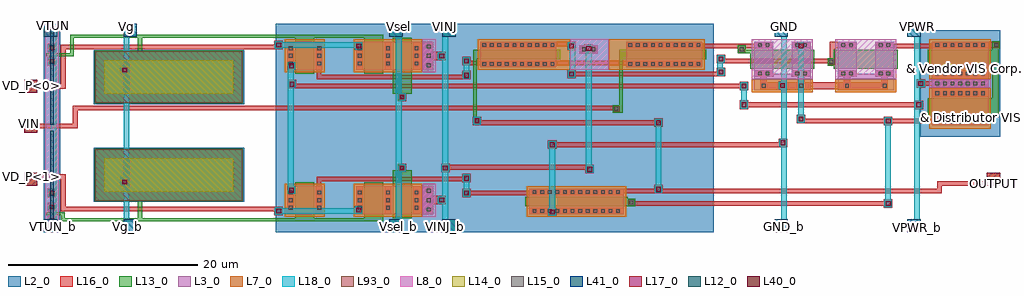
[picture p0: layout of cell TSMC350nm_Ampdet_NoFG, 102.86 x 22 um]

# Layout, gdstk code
from math import pi, radians
import gdstk
lib = gdstk.Library(unit=1e-6, precision=1e-09)
def R(c, l, rs):  # rectangles x0, y0, x1, y1
    for r in rs: c.add(gdstk.rectangle(r[:2], r[2:], *l))
def A(c, l, x, y, w, h, nx, ny, dx, dy):  # array of equal rectangles
    R(c, l, [(x+i*dx, y+j*dy, x+i*dx+w, y+j*dy+h) for i in range(nx) for j in range(ny)])
L2_0 = (2, 0)
L3_0 = (3, 0)
L7_0 = (7, 0)
L8_0 = (8, 0)
L12_0 = (12, 0)
L13_0 = (13, 0)
L14_0 = (14, 0)
L15_0 = (15, 0)
L16_0 = (16, 0)
L17_0 = (17, 0)
L18_0 = (18, 0)
L40_0 = (40, 0)
L41_0 = (41, 0)
L93_0 = (93, 0)

pch_cdns_748281327660 = lib.new_cell('pch_CDNS_748281327660')
R(pch_cdns_748281327660, L2_0, [(-2.05,-1.2,3.05,11.2)])
R(pch_cdns_748281327660, L3_0, [(-0.85,0,-0.15,10), (-0.85,0,-0.15,10), (-0.15,0,1.15,10), (1.15,0,1.85,10), (1.15,0,1.85,10)])
R(pch_cdns_748281327660, L7_0, [(-1.1,-0.25,2.1,10.25)])
R(pch_cdns_748281327660, L13_0, [(0,-0.4,1,10.4)])
A(pch_cdns_748281327660, L15_0, -0.7, 0.4, 0.4, 0.4, 1, 12, 0, 0.8)
A(pch_cdns_748281327660, L15_0, 1.3, 0.4, 0.4, 0.4, 1, 12, 0, 0.8)
R(pch_cdns_748281327660, L16_0, [(-0.85,0,-0.15,10), (1.15,0,1.85,10)])
pch_cdns_748281327660.add(gdstk.Label('D', (1.5,5), layer=59, texttype=0))
pch_cdns_748281327660.add(gdstk.Label('S', (-0.5,5), layer=59, texttype=0))
pch_cdns_748281327660.add(gdstk.Label('G', (0.5,5), layer=59, texttype=0))
pch_cdns_748281327660.add(gdstk.Label('& SerialNumber 000000', (0,0), layer=16, texttype=0))
pch_cdns_748281327660.add(gdstk.Label('& Distributor VIS', (0,0), layer=16, texttype=0))
pch_cdns_748281327660.add(gdstk.Label('& Metric 1', (0,0), layer=16, texttype=0))
pch_cdns_748281327660.add(gdstk.Label('& Version    \t  1.7A', (0,0), layer=16, texttype=0))
pch_cdns_748281327660.add(gdstk.Label('& PDKName     vis35cv', (0,0), layer=16, texttype=0))
pch_cdns_748281327660.add(gdstk.Label('& Vendor VIS Corp.', (0,0), layer=16, texttype=0))
pch_cdns_748281327660.add(gdstk.Label('& SerialNumber 000000', (0,0), layer=63, texttype=63))
pch_cdns_748281327660.add(gdstk.Label('& Distributor VIS', (0,0), layer=63, texttype=63))
pch_cdns_748281327660.add(gdstk.Label('& Metric 1', (0,0), layer=63, texttype=63))
pch_cdns_748281327660.add(gdstk.Label('& Version    \t  1.7A', (0,0), layer=63, texttype=63))
pch_cdns_748281327660.add(gdstk.Label('& PDKName     vis35cv', (0,0), layer=63, texttype=63))
pch_cdns_748281327660.add(gdstk.Label('& Vendor VIS Corp.', (0,0), layer=63, texttype=63))

nch_cdns_748281327661 = lib.new_cell('nch_CDNS_748281327661')
R(nch_cdns_748281327661, L3_0, [(-0.85,0,-0.15,2), (-0.85,0,-0.15,2), (-0.15,0,2.15,2), (2.15,0,2.85,2), (2.15,0,2.85,2)])
R(nch_cdns_748281327661, L8_0, [(-1.1,-0.25,3.1,2.25)])
R(nch_cdns_748281327661, L13_0, [(0,-0.4,2,2.4)])
R(nch_cdns_748281327661, L15_0, [(-0.7,0.4,-0.3,0.8), (2.3,0.4,2.7,0.8), (-0.7,1.2,-0.3,1.6), (2.3,1.2,2.7,1.6)])
R(nch_cdns_748281327661, L16_0, [(-0.85,0,-0.15,2), (2.15,0,2.85,2)])
nch_cdns_748281327661.add(gdstk.Label('D', (2.5,1), layer=59, texttype=0))
nch_cdns_748281327661.add(gdstk.Label('S', (-0.5,1), layer=59, texttype=0))
nch_cdns_748281327661.add(gdstk.Label('G', (1,1), layer=59, texttype=0))
nch_cdns_748281327661.add(gdstk.Label('& SerialNumber 000000', (0,0), layer=16, texttype=0))
nch_cdns_748281327661.add(gdstk.Label('& Distributor VIS', (0,0), layer=16, texttype=0))
nch_cdns_748281327661.add(gdstk.Label('& Metric 1', (0,0), layer=16, texttype=0))
nch_cdns_748281327661.add(gdstk.Label('& Version    \t  1.7A', (0,0), layer=16, texttype=0))
nch_cdns_748281327661.add(gdstk.Label('& PDKName     vis35cv', (0,0), layer=16, texttype=0))
nch_cdns_748281327661.add(gdstk.Label('& Vendor VIS Corp.', (0,0), layer=16, texttype=0))
nch_cdns_748281327661.add(gdstk.Label('& SerialNumber 000000', (0,0), layer=63, texttype=63))
nch_cdns_748281327661.add(gdstk.Label('& Distributor VIS', (0,0), layer=63, texttype=63))
nch_cdns_748281327661.add(gdstk.Label('& Metric 1', (0,0), layer=63, texttype=63))
nch_cdns_748281327661.add(gdstk.Label('& Version    \t  1.7A', (0,0), layer=63, texttype=63))
nch_cdns_748281327661.add(gdstk.Label('& PDKName     vis35cv', (0,0), layer=63, texttype=63))
nch_cdns_748281327661.add(gdstk.Label('& Vendor VIS Corp.', (0,0), layer=63, texttype=63))

pch_cdns_748281327662 = lib.new_cell('pch_CDNS_748281327662')
R(pch_cdns_748281327662, L2_0, [(-2.05,-1.2,3.05,9.2)])
R(pch_cdns_748281327662, L3_0, [(-0.85,0,-0.15,8), (-0.85,0,-0.15,8), (-0.15,0,1.15,8), (1.15,0,1.85,8), (1.15,0,1.85,8)])
R(pch_cdns_748281327662, L7_0, [(-1.1,-0.25,2.1,8.25)])
R(pch_cdns_748281327662, L13_0, [(0,-0.4,1,8.4)])
A(pch_cdns_748281327662, L15_0, -0.7, 0.2, 0.4, 0.4, 1, 10, 0, 0.8)
A(pch_cdns_748281327662, L15_0, 1.3, 0.2, 0.4, 0.4, 1, 10, 0, 0.8)
R(pch_cdns_748281327662, L16_0, [(-0.85,0,-0.15,8), (1.15,0,1.85,8)])
pch_cdns_748281327662.add(gdstk.Label('D', (1.5,4), layer=59, texttype=0))
pch_cdns_748281327662.add(gdstk.Label('S', (-0.5,4), layer=59, texttype=0))
pch_cdns_748281327662.add(gdstk.Label('G', (0.5,4), layer=59, texttype=0))
pch_cdns_748281327662.add(gdstk.Label('& SerialNumber 000000', (0,0), layer=16, texttype=0))
pch_cdns_748281327662.add(gdstk.Label('& Distributor VIS', (0,0), layer=16, texttype=0))
pch_cdns_748281327662.add(gdstk.Label('& Metric 1', (0,0), layer=16, texttype=0))
pch_cdns_748281327662.add(gdstk.Label('& Version    \t  1.7A', (0,0), layer=16, texttype=0))
pch_cdns_748281327662.add(gdstk.Label('& PDKName     vis35cv', (0,0), layer=16, texttype=0))
pch_cdns_748281327662.add(gdstk.Label('& Vendor VIS Corp.', (0,0), layer=16, texttype=0))
pch_cdns_748281327662.add(gdstk.Label('& SerialNumber 000000', (0,0), layer=63, texttype=63))
pch_cdns_748281327662.add(gdstk.Label('& Distributor VIS', (0,0), layer=63, texttype=63))
pch_cdns_748281327662.add(gdstk.Label('& Metric 1', (0,0), layer=63, texttype=63))
pch_cdns_748281327662.add(gdstk.Label('& Version    \t  1.7A', (0,0), layer=63, texttype=63))
pch_cdns_748281327662.add(gdstk.Label('& PDKName     vis35cv', (0,0), layer=63, texttype=63))
pch_cdns_748281327662.add(gdstk.Label('& Vendor VIS Corp.', (0,0), layer=63, texttype=63))

pch_cdns_748281327663 = lib.new_cell('pch_CDNS_748281327663')
R(pch_cdns_748281327663, L2_0, [(-2.05,-1.2,7.05,4.2)])
A(pch_cdns_748281327663, L3_0, -0.85, 0, 0.7, 3, 3, 1, 3, 0)
R(pch_cdns_748281327663, L3_0, [(-0.85,0,-0.15,3), (-0.15,0,2.15,3), (2.85,0,5.15,3), (5.15,0,5.85,3)])
R(pch_cdns_748281327663, L7_0, [(-1.1,-0.25,6.1,3.25)])
R(pch_cdns_748281327663, L13_0, [(0,-0.4,2,3.4), (3,-0.4,5,3.4)])
A(pch_cdns_748281327663, L15_0, -0.7, 0.5, 0.4, 0.4, 3, 3, 3, 0.8)
A(pch_cdns_748281327663, L16_0, -0.85, 0, 0.7, 3, 3, 1, 3, 0)
pch_cdns_748281327663.add(gdstk.Label('D', (2.5,1.5), layer=59, texttype=0))
pch_cdns_748281327663.add(gdstk.Label('S', (-0.5,1.5), layer=59, texttype=0))
pch_cdns_748281327663.add(gdstk.Label('S', (5.5,1.5), layer=59, texttype=0))
pch_cdns_748281327663.add(gdstk.Label('G', (4,1.5), layer=59, texttype=0))
pch_cdns_748281327663.add(gdstk.Label('G', (1,1.5), layer=59, texttype=0))
pch_cdns_748281327663.add(gdstk.Label('& SerialNumber 000000', (0,0), layer=16, texttype=0))
pch_cdns_748281327663.add(gdstk.Label('& Distributor VIS', (0,0), layer=16, texttype=0))
pch_cdns_748281327663.add(gdstk.Label('& Metric 1', (0,0), layer=16, texttype=0))
pch_cdns_748281327663.add(gdstk.Label('& Version    \t  1.7A', (0,0), layer=16, texttype=0))
pch_cdns_748281327663.add(gdstk.Label('& PDKName     vis35cv', (0,0), layer=16, texttype=0))
pch_cdns_748281327663.add(gdstk.Label('& Vendor VIS Corp.', (0,0), layer=16, texttype=0))
pch_cdns_748281327663.add(gdstk.Label('& SerialNumber 000000', (0,0), layer=63, texttype=63))
pch_cdns_748281327663.add(gdstk.Label('& Distributor VIS', (0,0), layer=63, texttype=63))
pch_cdns_748281327663.add(gdstk.Label('& Metric 1', (0,0), layer=63, texttype=63))
pch_cdns_748281327663.add(gdstk.Label('& Version    \t  1.7A', (0,0), layer=63, texttype=63))
pch_cdns_748281327663.add(gdstk.Label('& PDKName     vis35cv', (0,0), layer=63, texttype=63))
pch_cdns_748281327663.add(gdstk.Label('& Vendor VIS Corp.', (0,0), layer=63, texttype=63))

pch_cdns_748281327664 = lib.new_cell('pch_CDNS_748281327664')
R(pch_cdns_748281327664, L2_0, [(-2.05,-1.2,4.05,4.2)])
R(pch_cdns_748281327664, L3_0, [(-0.85,0,-0.15,3), (-0.85,0,-0.15,3), (-0.15,0,2.15,3), (2.15,0,2.85,3), (2.15,0,2.85,3)])
R(pch_cdns_748281327664, L7_0, [(-1.1,-0.25,3.1,3.25)])
R(pch_cdns_748281327664, L13_0, [(0,-0.4,2,3.4)])
A(pch_cdns_748281327664, L15_0, -0.7, 0.5, 0.4, 0.4, 1, 3, 0, 0.8)
A(pch_cdns_748281327664, L15_0, 2.3, 0.5, 0.4, 0.4, 1, 3, 0, 0.8)
R(pch_cdns_748281327664, L16_0, [(-0.85,0,-0.15,3), (2.15,0,2.85,3)])
pch_cdns_748281327664.add(gdstk.Label('D', (2.5,1.5), layer=59, texttype=0))
pch_cdns_748281327664.add(gdstk.Label('S', (-0.5,1.5), layer=59, texttype=0))
pch_cdns_748281327664.add(gdstk.Label('G', (1,1.5), layer=59, texttype=0))
pch_cdns_748281327664.add(gdstk.Label('& SerialNumber 000000', (0,0), layer=16, texttype=0))
pch_cdns_748281327664.add(gdstk.Label('& Distributor VIS', (0,0), layer=16, texttype=0))
pch_cdns_748281327664.add(gdstk.Label('& Metric 1', (0,0), layer=16, texttype=0))
pch_cdns_748281327664.add(gdstk.Label('& Version    \t  1.7A', (0,0), layer=16, texttype=0))
pch_cdns_748281327664.add(gdstk.Label('& PDKName     vis35cv', (0,0), layer=16, texttype=0))
pch_cdns_748281327664.add(gdstk.Label('& Vendor VIS Corp.', (0,0), layer=16, texttype=0))
pch_cdns_748281327664.add(gdstk.Label('& SerialNumber 000000', (0,0), layer=63, texttype=63))
pch_cdns_748281327664.add(gdstk.Label('& Distributor VIS', (0,0), layer=63, texttype=63))
pch_cdns_748281327664.add(gdstk.Label('& Metric 1', (0,0), layer=63, texttype=63))
pch_cdns_748281327664.add(gdstk.Label('& Version    \t  1.7A', (0,0), layer=63, texttype=63))
pch_cdns_748281327664.add(gdstk.Label('& PDKName     vis35cv', (0,0), layer=63, texttype=63))
pch_cdns_748281327664.add(gdstk.Label('& Vendor VIS Corp.', (0,0), layer=63, texttype=63))

m1_poly1_cdns_7482813276 = lib.new_cell('M1_POLY1_CDNS_748281327660')
R(m1_poly1_cdns_7482813276, L13_0, [(-0.4,-0.4,0.4,0.4)])
R(m1_poly1_cdns_7482813276, L15_0, [(-0.2,-0.2,0.2,0.2)])
R(m1_poly1_cdns_7482813276, L16_0, [(-0.35,-0.35,0.35,0.35)])

m1_pactive_cdns_74828132 = lib.new_cell('M1_PACTIVE_CDNS_748281327661')
R(m1_pactive_cdns_74828132, L3_0, [(-0.45,-0.45,0.45,0.45)])
R(m1_pactive_cdns_74828132, L7_0, [(-0.7,-0.7,0.7,0.7)])
R(m1_pactive_cdns_74828132, L15_0, [(-0.2,-0.2,0.2,0.2)])
R(m1_pactive_cdns_74828132, L16_0, [(-0.35,-0.35,0.35,0.35)])

m2_m1_cdns_748281327662 = lib.new_cell('M2_M1_CDNS_748281327662')
R(m2_m1_cdns_748281327662, L16_0, [(-0.45,-0.45,0.45,0.45)])
R(m2_m1_cdns_748281327662, L17_0, [(-0.25,-0.25,0.25,0.25)])
R(m2_m1_cdns_748281327662, L18_0, [(-0.4,-0.4,0.4,0.4)])

m1_nactive_cdns_74828132 = lib.new_cell('M1_NACTIVE_CDNS_748281327663')
R(m1_nactive_cdns_74828132, L3_0, [(-0.95,-0.45,0.95,0.45)])
R(m1_nactive_cdns_74828132, L8_0, [(-1.2,-0.7,1.2,0.7)])
R(m1_nactive_cdns_74828132, L15_0, [(-0.7,-0.2,-0.3,0.2), (0.3,-0.2,0.7,0.2)])
R(m1_nactive_cdns_74828132, L16_0, [(-0.85,-0.35,0.85,0.35)])

c_m1_nactive_cdns_74828132 = lib.new_cell('M1_NACTIVE_CDNS_748281327664')
R(c_m1_nactive_cdns_74828132, L3_0, [(-0.45,-1.45,0.45,1.45)])
R(c_m1_nactive_cdns_74828132, L8_0, [(-0.7,-1.7,0.7,1.7)])
A(c_m1_nactive_cdns_74828132, L15_0, -0.2, -1.2, 0.4, 0.4, 1, 3, 0, 1)
R(c_m1_nactive_cdns_74828132, L16_0, [(-0.35,-1.35,0.35,1.35)])

c_m1_poly1_cdns_7482813276 = lib.new_cell('M1_POLY1_CDNS_748281327665')
R(c_m1_poly1_cdns_7482813276, L13_0, [(-0.4,-0.4,0.4,0.4)])
R(c_m1_poly1_cdns_7482813276, L15_0, [(-0.2,-0.2,0.2,0.2)])
R(c_m1_poly1_cdns_7482813276, L16_0, [(-0.45,-0.45,0.45,0.45)])

tsmc350nm_ampdet_nofg = lib.new_cell('TSMC350nm_Ampdet_NoFG')
R(tsmc350nm_ampdet_nofg, L2_0, [(2.1,0,3.8,11.02), (26.555,0,72.68,22), (7.365,3.21,23.195,8.92), (94.46,10.1,102.86,15.61), (2.1,11.02,3.8,22), (7.365,13.495,23.195,19.205), (94.46,13.74,102.86,21.3)])
A(tsmc350nm_ampdet_nofg, L3_0, 2.6, 0.88, 0.7, 0.7, 1, 3, 0, 1.45)
R(tsmc350nm_ampdet_nofg, L3_0, [(41.72,1.9,43.12,4.9), (95.66,11.3,101.66,12), (95.66,11.3,101.66,12), (95.66,12,101.66,14.3), (95.66,14.3,101.66,15), (95.66,14.3,101.66,15), (95.66,14.96,101.66,16.42), (76.96,15,82.9,16.72), (85.75,15,91.69,16.72), (95.66,16.4,101.66,17.1), (95.66,16.4,101.66,17.1), (41.72,17.1,43.12,20.1), (95.66,17.1,101.66,19.4), (2.6,17.65,3.3,18.35), (2.6,19.1,3.3,19.8), (95.66,19.4,101.66,20.1), (95.66,19.4,101.66,20.1)])
R(tsmc350nm_ampdet_nofg, L7_0, [(95.41,10.92,101.91,15.25), (76.71,14.75,83.15,16.15), (85.5,14.75,91.94,16.15), (95.41,16.15,101.91,20.35), (56.34,17.15,57.57,20.35), (61.62,17.15,63.23,20.35)])
R(tsmc350nm_ampdet_nofg, L8_0, [(2.25,0,3.65,11.02), (41.97,1.65,43.37,1.7), (41.97,5.1,43.37,5.15), (2.25,11.02,3.65,22), (95.41,15.25,101.91,16.15), (79.21,16.15,80.65,20.35), (88,16.15,89.44,20.35), (41.97,16.85,43.37,16.9), (57.57,17.15,61.62,20.35), (41.97,20.3,43.37,20.35)])
R(tsmc350nm_ampdet_nofg, L12_0, [(2.75,0.56,3.15,10.71), (2.75,11.32,3.15,21.47)])
R(tsmc350nm_ampdet_nofg, L13_0, [(27.07,1.15,37.87,1.5), (11.975,1.455,12.475,3.3), (7.475,3.3,23.075,8.8), (10.215,4.9,11.015,5.7), (38.87,5.3,40.87,6.53), (47.34,11.59,47.69,19.25), (102.05,12.14,102.73,20.08), (95.26,12.15,102.06,14.15), (62.73,12.62,63.08,19.25), (7.475,13.615,23.075,19.115), (38.87,14.59,40.87,16.7), (10.215,16.715,11.015,17.515), (79.33,17.25,80.7,19.25), (88.12,17.25,89.49,19.25), (95.26,17.25,102.06,19.25), (11.975,18.755,12.475,20.6), (75.89,18.9,76.56,19.25), (27.07,20.5,37.87,20.85)])
R(tsmc350nm_ampdet_nofg, L14_0, [(8.475,4.3,22.075,7.8), (8.475,14.615,22.075,18.115)])
A(tsmc350nm_ampdet_nofg, L15_0, 2.75, 1.03, 0.4, 0.4, 1, 3, 0, 1.45)
A(tsmc350nm_ampdet_nofg, L15_0, 96.06, 11.45, 0.4, 0.4, 7, 2, 0.8, 3)
A(tsmc350nm_ampdet_nofg, L15_0, 96.06, 15.5, 0.4, 0.4, 7, 2, 0.8, 1.05)
A(tsmc350nm_ampdet_nofg, L15_0, 96.06, 19.55, 0.4, 0.4, 7, 1, 0.8, 0)
R(tsmc350nm_ampdet_nofg, L15_0, [(10.415,5.1,10.815,5.5), (10.415,16.915,10.815,17.315), (2.75,17.8,3.15,18.2), (2.75,19.25,3.15,19.65)])
R(tsmc350nm_ampdet_nofg, L16_0, [(2.5,0.78,3.4,1.68), (2.5,0.78,3.4,1.68), (41.72,2.05,42.32,4.75), (2.5,2.23,3.4,3.13), (2.5,2.23,3.4,3.13), (43.005,2.96,43.57,3.86), (2.5,3.68,3.4,4.58), (2.5,3.68,3.4,4.58), (46.74,3.9,53.22,4.4), (63.21,4.1,63.785,4.6), (10.165,4.85,11.065,5.75), (10.165,4.85,11.065,5.75), (0,4.9,1.4,6.3), (101.46,4.9,102.86,6.3), (44.085,6.61,59.67,7.11), (78.71,8.99,79.55,9.49), (0,10.5,1.4,11.9), (95.66,11.3,101.66,12), (48.19,11.31,48.86,11.81), (81.775,11.5,95.66,12), (5.16,12.87,62.08,13.37), (95.66,14.3,101.66,15), (0,14.7,1.4,16.1), (95.66,14.97,101.66,16.41), (78.05,15.1,86.5,15.8), (86.84,15.1,90.53,15.8), (27.89,15.17,74.67,15.67), (94.06,15.25,94.96,16.15), (94.26,15.45,95.66,15.95), (77.6,15.74,78.3,16.42), (81.56,15.74,82.26,16.48), (86.39,15.74,87.09,16.42), (90.35,15.74,91.05,16.48), (95.66,16.4,101.66,17.1), (57.5,16.45,73.19,16.95), (10.165,16.665,11.065,17.565), (10.165,16.665,11.065,17.565), (41.72,17.25,42.32,19.95), (2.5,17.55,3.4,18.45), (2.5,17.55,3.4,18.45), (46.74,17.6,48.09,18.1), (56.09,17.6,63.48,18.1), (73.01,17.82,84.74,18.32), (43.005,18.14,43.57,19.04), (84.94,18.32,85.44,19.93), (2.5,19,3.4,19.9), (71.38,19.4,76.97,19.9), (84.94,19.4,85.79,20.1), (91.69,19.4,95.68,19.9), (95.66,19.4,101.66,20.1), (101.66,19.4,102.8,20.1), (56.09,19.6,58.12,20.1)])
A(tsmc350nm_ampdet_nofg, L17_0, 2.7, 0.98, 0.5, 0.5, 1, 3, 0, 1.45)
R(tsmc350nm_ampdet_nofg, L17_0, [(10.365,5.05,10.865,5.55), (94.26,15.45,94.76,15.95), (10.365,16.865,10.865,17.365), (2.7,17.75,3.2,18.25), (2.7,19.2,3.2,19.7)])
A(tsmc350nm_ampdet_nofg, L18_0, 2.55, 0.83, 0.8, 0.8, 1, 3, 0, 1.45)
R(tsmc350nm_ampdet_nofg, L18_0, [(2.1,0,3.5,1.4), (10.5,0,11.9,1.4), (10.5,0,11.1,22), (38.5,0,39.9,1.4), (39.2,0,39.8,22), (44.1,0,45.5,1.4), (44.1,0,44.7,22), (79.1,0,80.5,1.4), (79.8,0,80.4,22), (93.1,0,94.5,1.4), (93.8,0,94.4,22), (27.225,1.95,34.87,2.55), (27.805,4.85,28.405,17.215), (10.215,4.9,11.015,5.7), (59.22,6.43,59.82,19.16), (81.6,12.08,82.2,19.94), (94.11,15.3,94.91,16.1), (10.215,16.715,11.015,17.515), (57.49,16.73,58.09,19.93), (73.06,16.83,73.66,17.87), (2.55,17.6,3.35,18.4), (2.55,19.05,3.35,19.85), (27.225,19.45,34.87,20.05), (2.1,20.6,3.5,22), (10.5,20.6,11.9,22), (38.5,20.6,39.9,22), (44.1,20.6,45.5,22), (79.1,20.6,80.5,22), (93.1,20.6,94.5,22)])
R(tsmc350nm_ampdet_nofg, L40_0, [(0,4.9,1.4,6.3), (101.46,4.9,102.86,6.3), (0,10.5,1.4,11.9), (0,14.7,1.4,16.1)])
R(tsmc350nm_ampdet_nofg, L41_0, [(2.1,0,3.5,1.4), (10.5,0,11.9,1.4), (38.5,0,39.9,1.4), (44.1,0,45.5,1.4), (79.1,0,80.5,1.4), (93.1,0,94.5,1.4), (2.1,20.6,3.5,22), (10.5,20.6,11.9,22), (38.5,20.6,39.9,22), (44.1,20.6,45.5,22), (79.1,20.6,80.5,22), (93.1,20.6,94.5,22)])
R(tsmc350nm_ampdet_nofg, L93_0, [(7.525,3.35,23.025,8.75), (7.525,13.665,23.025,19.065)])
tsmc350nm_ampdet_nofg.add(gdstk.FlexPath([(27.23,19.75),(26.84,19.75)], 0.6, ends="flush", simple_path=True, layer=18, datatype=0))  # L18_0
tsmc350nm_ampdet_nofg.add(gdstk.FlexPath([(3.1,0),(3.1,22)], 0.6, ends="flush", simple_path=True, layer=18, datatype=0))  # L18_0
tsmc350nm_ampdet_nofg.add(gdstk.FlexPath([(66.87,11.56),(66.87,4.49)], 0.6, ends="flush", simple_path=True, layer=18, datatype=0))  # L18_0
tsmc350nm_ampdet_nofg.add(gdstk.FlexPath([(91.07,11.75),(91.07,2.81)], 0.6, ends="flush", simple_path=True, layer=18, datatype=0))  # L18_0
tsmc350nm_ampdet_nofg.add(gdstk.FlexPath([(55.67,9.24),(55.67,2.15)], 0.6, ends="flush", simple_path=True, layer=18, datatype=0))  # L18_0
tsmc350nm_ampdet_nofg.add(gdstk.FlexPath([(27.23,2.25),(26.84,2.25)], 0.6, ends="flush", simple_path=True, layer=18, datatype=0))  # L18_0
tsmc350nm_ampdet_nofg.add(gdstk.FlexPath([(75.88,15.42),(75.88,13.45)], 0.6, ends="flush", simple_path=True, layer=18, datatype=0))  # L18_0
tsmc350nm_ampdet_nofg.add(gdstk.FlexPath([(46.63,17.85),(46.63,16.29)], 0.6, ends="flush", simple_path=True, layer=18, datatype=0))  # L18_0
tsmc350nm_ampdet_nofg.add(gdstk.FlexPath([(46.63,4.15),(46.63,5.71)], 0.6, ends="flush", simple_path=True, layer=18, datatype=0))  # L18_0
tsmc350nm_ampdet_nofg.add(gdstk.FlexPath([(4.115,1.955),(2.34,1.955)], 0.35, ends=(0.175, 0), simple_path=True, layer=13, datatype=0))  # L13_0
tsmc350nm_ampdet_nofg.add(gdstk.FlexPath([(4.115,1.325),(4.115,1.955)], 0.35, ends="extended", simple_path=True, layer=13, datatype=0))  # L13_0
tsmc350nm_ampdet_nofg.add(gdstk.FlexPath([(27.07,1.325),(4.115,1.325)], 0.35, ends=(0, 0.175), simple_path=True, layer=13, datatype=0))  # L13_0
tsmc350nm_ampdet_nofg.add(gdstk.FlexPath([(5.055,20.675),(27.07,20.675)], 0.35, ends=(0.175, 0), simple_path=True, layer=13, datatype=0))  # L13_0
tsmc350nm_ampdet_nofg.add(gdstk.FlexPath([(5.055,18.725),(5.055,20.675)], 0.35, ends="extended", simple_path=True, layer=13, datatype=0))  # L13_0
tsmc350nm_ampdet_nofg.add(gdstk.FlexPath([(2.35,18.725),(5.055,18.725)], 0.35, ends=(0, 0.175), simple_path=True, layer=13, datatype=0))  # L13_0
tsmc350nm_ampdet_nofg.add(gdstk.FlexPath([(48.86,11.56),(66.87,11.56)], 0.5, ends="flush", simple_path=True, layer=16, datatype=0))  # L16_0
tsmc350nm_ampdet_nofg.add(gdstk.FlexPath([(91.07,3.05),(64.18,3.05)], 0.5, ends="flush", simple_path=True, layer=16, datatype=0))  # L16_0
tsmc350nm_ampdet_nofg.add(gdstk.FlexPath([(26.84,19.75),(26.84,19.55)], 0.9, ends=(0, 0.25), simple_path=True, layer=16, datatype=0))  # L16_0
tsmc350nm_ampdet_nofg.add(gdstk.FlexPath([(4.13,15.37),(0,15.37)], 0.5, ends=(0.25, 0), simple_path=True, layer=16, datatype=0))  # L16_0
tsmc350nm_ampdet_nofg.add(gdstk.FlexPath([(4.13,19.55),(4.13,15.37)], 0.5, ends="extended", simple_path=True, layer=16, datatype=0))  # L16_0
tsmc350nm_ampdet_nofg.add(gdstk.FlexPath([(26.84,19.55),(4.13,19.55)], 0.5, ends=(0.45, 0.25), simple_path=True, layer=16, datatype=0))  # L16_0
tsmc350nm_ampdet_nofg.add(gdstk.FlexPath([(81.87,11.75),(91.07,11.75)], 0.5, ends="flush", simple_path=True, layer=16, datatype=0))  # L16_0
tsmc350nm_ampdet_nofg.add(gdstk.FlexPath([(46.63,16.37),(31.08,16.37)], 0.5, ends=(0, 0.25), simple_path=True, layer=16, datatype=0))  # L16_0
tsmc350nm_ampdet_nofg.add(gdstk.FlexPath([(46.74,17.85),(46.63,17.85)], 0.5, ends="flush", simple_path=True, layer=16, datatype=0))  # L16_0
tsmc350nm_ampdet_nofg.add(gdstk.FlexPath([(63.7,4.35),(96.48,4.35)], 0.5, ends=(0, 0.25), simple_path=True, layer=16, datatype=0))  # L16_0
tsmc350nm_ampdet_nofg.add(gdstk.FlexPath([(78.71,9.24),(55.67,9.24)], 0.5, ends="flush", simple_path=True, layer=16, datatype=0))  # L16_0
tsmc350nm_ampdet_nofg.add(gdstk.FlexPath([(5.41,12.87),(5.41,11.2)], 0.5, ends=(0, 0.25), simple_path=True, layer=16, datatype=0))  # L16_0
tsmc350nm_ampdet_nofg.add(gdstk.FlexPath([(5.41,11.2),(0,11.2)], 0.5, ends=(0.25, 0), simple_path=True, layer=16, datatype=0))  # L16_0
tsmc350nm_ampdet_nofg.add(gdstk.FlexPath([(4.13,5.85),(0,5.85)], 0.5, ends=(0.25, 0), simple_path=True, layer=16, datatype=0))  # L16_0
tsmc350nm_ampdet_nofg.add(gdstk.FlexPath([(4.13,2.45),(4.13,5.85)], 0.5, ends="extended", simple_path=True, layer=16, datatype=0))  # L16_0
tsmc350nm_ampdet_nofg.add(gdstk.FlexPath([(26.84,2.45),(4.13,2.45)], 0.5, ends=(0.45, 0.25), simple_path=True, layer=16, datatype=0))  # L16_0
tsmc350nm_ampdet_nofg.add(gdstk.FlexPath([(75.88,13.45),(94.54,13.45)], 0.5, ends="flush", simple_path=True, layer=16, datatype=0))  # L16_0
tsmc350nm_ampdet_nofg.add(gdstk.FlexPath([(74.67,15.42),(75.88,15.42)], 0.5, ends="flush", simple_path=True, layer=16, datatype=0))  # L16_0
tsmc350nm_ampdet_nofg.add(gdstk.FlexPath([(46.63,5.63),(31.08,5.63)], 0.5, ends=(0, 0.25), simple_path=True, layer=16, datatype=0))  # L16_0
tsmc350nm_ampdet_nofg.add(gdstk.FlexPath([(31.08,16.37),(31.08,17.14)], 0.5, ends=(0.25, 0), simple_path=True, layer=16, datatype=0))  # L16_0
tsmc350nm_ampdet_nofg.add(gdstk.FlexPath([(46.74,4.15),(46.63,4.15)], 0.5, ends="flush", simple_path=True, layer=16, datatype=0))  # L16_0
tsmc350nm_ampdet_nofg.add(gdstk.FlexPath([(96.48,4.35),(96.48,5.15)], 0.5, ends="extended", simple_path=True, layer=16, datatype=0))  # L16_0
tsmc350nm_ampdet_nofg.add(gdstk.FlexPath([(96.48,5.15),(102.86,5.15)], 0.5, ends=(0.25, 0), simple_path=True, layer=16, datatype=0))  # L16_0
tsmc350nm_ampdet_nofg.add(gdstk.FlexPath([(31.08,5.63),(31.08,4.86)], 0.5, ends=(0.25, 0), simple_path=True, layer=16, datatype=0))  # L16_0
tsmc350nm_ampdet_nofg.add(gdstk.Reference(pch_cdns_748281327660, (63.21,2.75), rotation=pi/2))
tsmc350nm_ampdet_nofg.add(gdstk.Reference(nch_cdns_748281327661, (76.96,19.25), rotation=3*pi/2))
tsmc350nm_ampdet_nofg.add(gdstk.Reference(nch_cdns_748281327661, (80.9,19.25), rotation=3*pi/2))
tsmc350nm_ampdet_nofg.add(gdstk.Reference(nch_cdns_748281327661, (85.75,19.25), rotation=3*pi/2))
tsmc350nm_ampdet_nofg.add(gdstk.Reference(nch_cdns_748281327661, (89.69,19.25), rotation=3*pi/2))
tsmc350nm_ampdet_nofg.add(gdstk.Reference(pch_cdns_748281327662, (48.09,19.25), rotation=3*pi/2))
tsmc350nm_ampdet_nofg.add(gdstk.Reference(pch_cdns_748281327662, (63.48,19.25), rotation=3*pi/2))
tsmc350nm_ampdet_nofg.add(gdstk.Reference(pch_cdns_748281327663, (35.87,17.1)))
tsmc350nm_ampdet_nofg.add(gdstk.Reference(pch_cdns_748281327663, (35.87,4.9), x_reflection=True))
tsmc350nm_ampdet_nofg.add(gdstk.Reference(pch_cdns_748281327664, (28.605,17.1)))
tsmc350nm_ampdet_nofg.add(gdstk.Reference(pch_cdns_748281327664, (28.605,4.9), x_reflection=True))
tsmc350nm_ampdet_nofg.add(gdstk.Reference(m1_poly1_cdns_7482813276, (62.43,13.02)))
tsmc350nm_ampdet_nofg.add(gdstk.Reference(m1_poly1_cdns_7482813276, (64.01,3.15)))
tsmc350nm_ampdet_nofg.add(gdstk.Reference(m1_poly1_cdns_7482813276, (85.09,17.97)))
tsmc350nm_ampdet_nofg.add(gdstk.Reference(m1_poly1_cdns_7482813276, (75.64,19.3)))
tsmc350nm_ampdet_nofg.add(gdstk.Reference(m1_poly1_cdns_7482813276, (102.45,19.75)))
tsmc350nm_ampdet_nofg.add(gdstk.Reference(m1_pactive_cdns_74828132, (90.7,15.45)))
tsmc350nm_ampdet_nofg.add(gdstk.Reference(m1_pactive_cdns_74828132, (86.74,15.45)))
tsmc350nm_ampdet_nofg.add(gdstk.Reference(m1_pactive_cdns_74828132, (77.95,15.45)))
tsmc350nm_ampdet_nofg.add(gdstk.Reference(m1_pactive_cdns_74828132, (81.91,15.45)))
tsmc350nm_ampdet_nofg.add(gdstk.Reference(m2_m1_cdns_748281327662, (66.87,11.56)))
tsmc350nm_ampdet_nofg.add(gdstk.Reference(m2_m1_cdns_748281327662, (47.74,11.76)))
tsmc350nm_ampdet_nofg.add(gdstk.Reference(m2_m1_cdns_748281327662, (59.62,6.66)))
tsmc350nm_ampdet_nofg.add(gdstk.Reference(m2_m1_cdns_748281327662, (44.4,6.78)))
tsmc350nm_ampdet_nofg.add(gdstk.Reference(m2_m1_cdns_748281327662, (26.84,2.25), x_reflection=True))
tsmc350nm_ampdet_nofg.add(gdstk.Reference(m2_m1_cdns_748281327662, (35.27,2.35), x_reflection=True))
tsmc350nm_ampdet_nofg.add(gdstk.Reference(m2_m1_cdns_748281327662, (26.84,19.75)))
tsmc350nm_ampdet_nofg.add(gdstk.Reference(m2_m1_cdns_748281327662, (35.27,19.65)))
tsmc350nm_ampdet_nofg.add(gdstk.Reference(m2_m1_cdns_748281327662, (75.88,13.45)))
tsmc350nm_ampdet_nofg.add(gdstk.Reference(m2_m1_cdns_748281327662, (75.88,15.42)))
tsmc350nm_ampdet_nofg.add(gdstk.Reference(m2_m1_cdns_748281327662, (39.85,6.78)))
tsmc350nm_ampdet_nofg.add(gdstk.Reference(m2_m1_cdns_748281327662, (39.85,14.27)))
tsmc350nm_ampdet_nofg.add(gdstk.Reference(m2_m1_cdns_748281327662, (46.63,16.57)))
tsmc350nm_ampdet_nofg.add(gdstk.Reference(m2_m1_cdns_748281327662, (46.63,18.05)))
tsmc350nm_ampdet_nofg.add(gdstk.Reference(m2_m1_cdns_748281327662, (94.3,13.445)))
tsmc350nm_ampdet_nofg.add(gdstk.Reference(m2_m1_cdns_748281327662, (28.255,15.62)))
tsmc350nm_ampdet_nofg.add(gdstk.Reference(m2_m1_cdns_748281327662, (28.205,4.45)))
tsmc350nm_ampdet_nofg.add(gdstk.Reference(m2_m1_cdns_748281327662, (28.205,17.55)))
tsmc350nm_ampdet_nofg.add(gdstk.Reference(m2_m1_cdns_748281327662, (46.63,4.15), x_reflection=True))
tsmc350nm_ampdet_nofg.add(gdstk.Reference(m2_m1_cdns_748281327662, (46.63,5.71), x_reflection=True))
tsmc350nm_ampdet_nofg.add(gdstk.Reference(m2_m1_cdns_748281327662, (44.02,3.41), x_reflection=True))
tsmc350nm_ampdet_nofg.add(gdstk.Reference(m2_m1_cdns_748281327662, (44.02,18.59)))
tsmc350nm_ampdet_nofg.add(gdstk.Reference(m2_m1_cdns_748281327662, (57.69,19.65), x_reflection=True))
tsmc350nm_ampdet_nofg.add(gdstk.Reference(m2_m1_cdns_748281327662, (66.87,4.55)))
tsmc350nm_ampdet_nofg.add(gdstk.Reference(m2_m1_cdns_748281327662, (81.9,11.95)))
tsmc350nm_ampdet_nofg.add(gdstk.Reference(m2_m1_cdns_748281327662, (55.67,2.15)))
tsmc350nm_ampdet_nofg.add(gdstk.Reference(m2_m1_cdns_748281327662, (81.9,19.65)))
tsmc350nm_ampdet_nofg.add(gdstk.Reference(m2_m1_cdns_748281327662, (79.93,15.47)))
tsmc350nm_ampdet_nofg.add(gdstk.Reference(m2_m1_cdns_748281327662, (59.51,19.39)))
tsmc350nm_ampdet_nofg.add(gdstk.Reference(m2_m1_cdns_748281327662, (91.07,3.04)))
tsmc350nm_ampdet_nofg.add(gdstk.Reference(m2_m1_cdns_748281327662, (91.07,11.75)))
tsmc350nm_ampdet_nofg.add(gdstk.Reference(m2_m1_cdns_748281327662, (73.46,18.27)))
tsmc350nm_ampdet_nofg.add(gdstk.Reference(m2_m1_cdns_748281327662, (73.46,16.9)))
tsmc350nm_ampdet_nofg.add(gdstk.Reference(m2_m1_cdns_748281327662, (80,9.44)))
tsmc350nm_ampdet_nofg.add(gdstk.Reference(m2_m1_cdns_748281327662, (55.67,9.24)))
tsmc350nm_ampdet_nofg.add(gdstk.Reference(m2_m1_cdns_748281327662, (57.69,16.68), x_reflection=True))
tsmc350nm_ampdet_nofg.add(gdstk.Reference(m1_nactive_cdns_74828132, (59.51,19.29)))
tsmc350nm_ampdet_nofg.add(gdstk.Reference(c_m1_nactive_cdns_74828132, (42.67,3.4), x_reflection=True))
tsmc350nm_ampdet_nofg.add(gdstk.Reference(c_m1_nactive_cdns_74828132, (42.67,18.6)))
tsmc350nm_ampdet_nofg.add(gdstk.Reference(c_m1_poly1_cdns_7482813276, (47.74,11.76)))
tsmc350nm_ampdet_nofg.add(gdstk.Reference(c_m1_poly1_cdns_7482813276, (39.85,6.78)))
tsmc350nm_ampdet_nofg.add(gdstk.Reference(c_m1_poly1_cdns_7482813276, (39.85,14.27)))
tsmc350nm_ampdet_nofg.add(gdstk.Label('VD_P<0>', (0.815,15.44), layer=40, texttype=0))
tsmc350nm_ampdet_nofg.add(gdstk.Label('VD_P<1>', (0.575,5.85), layer=40, texttype=0))
tsmc350nm_ampdet_nofg.add(gdstk.Label('VIN', (0.615,11.45), layer=40, texttype=0))
tsmc350nm_ampdet_nofg.add(gdstk.Label('OUTPUT', (102.225,5.14), layer=40, texttype=0))
tsmc350nm_ampdet_nofg.add(gdstk.Label('Vsel_b', (39.51,0.585), layer=41, texttype=0))
tsmc350nm_ampdet_nofg.add(gdstk.Label('VPWR_b', (94.12,0.565), layer=41, texttype=0))
tsmc350nm_ampdet_nofg.add(gdstk.Label('GND_b', (80.125,0.57), layer=41, texttype=0))
tsmc350nm_ampdet_nofg.add(gdstk.Label('VINJ_b', (44.4,0.57), layer=41, texttype=0))
tsmc350nm_ampdet_nofg.add(gdstk.Label('Vsel', (39.51,21.73), layer=41, texttype=0))
tsmc350nm_ampdet_nofg.add(gdstk.Label('VTUN_b', (3.105,0.62), layer=41, texttype=0))
tsmc350nm_ampdet_nofg.add(gdstk.Label('VTUN', (3.105,21.765), layer=41, texttype=0))
tsmc350nm_ampdet_nofg.add(gdstk.Label('Vg_b', (10.89,0.6), layer=41, texttype=0))
tsmc350nm_ampdet_nofg.add(gdstk.Label('VINJ', (44.4,21.715), layer=41, texttype=0))
tsmc350nm_ampdet_nofg.add(gdstk.Label('VPWR', (94.12,21.71), layer=41, texttype=0))
tsmc350nm_ampdet_nofg.add(gdstk.Label('Vg', (10.79,21.745), layer=41, texttype=0))
tsmc350nm_ampdet_nofg.add(gdstk.Label('GND', (80.125,21.715), layer=41, texttype=0))
tsmc350nm_ampdet_nofg.add(gdstk.Label('& Distributor VIS', (101.66,12.15), layer=63, texttype=63))
tsmc350nm_ampdet_nofg.add(gdstk.Label('& PDKName     vis35cv', (101.66,12.15), layer=63, texttype=63))
tsmc350nm_ampdet_nofg.add(gdstk.Label('& SerialNumber 000000', (101.66,12.15), layer=63, texttype=63))
tsmc350nm_ampdet_nofg.add(gdstk.Label('& Vendor VIS Corp.', (101.66,12.15), layer=63, texttype=63))
tsmc350nm_ampdet_nofg.add(gdstk.Label('& Vendor VIS Corp.', (101.66,17.25), layer=63, texttype=63))
tsmc350nm_ampdet_nofg.add(gdstk.Label('& Version    \t  1.7A', (101.66,12.15), layer=63, texttype=63))
tsmc350nm_ampdet_nofg.add(gdstk.Label('& Metric 1', (101.66,12.15), layer=63, texttype=63))
tsmc350nm_ampdet_nofg.add(gdstk.Label('& PDKName     vis35cv', (101.66,17.25), layer=63, texttype=63))
tsmc350nm_ampdet_nofg.add(gdstk.Label('& Version    \t  1.7A', (101.66,17.25), layer=63, texttype=63))
tsmc350nm_ampdet_nofg.add(gdstk.Label('& Metric 1', (101.66,17.25), layer=63, texttype=63))
tsmc350nm_ampdet_nofg.add(gdstk.Label('& Distributor VIS', (101.66,16.11), layer=63, texttype=63))
tsmc350nm_ampdet_nofg.add(gdstk.Label('& Metric 1', (101.66,16.11), layer=63, texttype=63))
tsmc350nm_ampdet_nofg.add(gdstk.Label('& Distributor VIS', (101.66,17.25), layer=63, texttype=63))
tsmc350nm_ampdet_nofg.add(gdstk.Label('& PDKName     vis35cv', (101.66,16.11), layer=63, texttype=63))
tsmc350nm_ampdet_nofg.add(gdstk.Label('& Vendor VIS Corp.', (101.66,16.11), layer=63, texttype=63))
tsmc350nm_ampdet_nofg.add(gdstk.Label('& Version    \t  1.7A', (101.66,16.11), layer=63, texttype=63))
tsmc350nm_ampdet_nofg.add(gdstk.Label('& SerialNumber 000000', (101.66,17.25), layer=63, texttype=63))
tsmc350nm_ampdet_nofg.add(gdstk.Label('& SerialNumber 000000', (101.66,16.11), layer=63, texttype=63))
tsmc350nm_ampdet_nofg.add(gdstk.Label('& PDKName     vis35cv', (101.66,17.25), layer=16, texttype=0))
tsmc350nm_ampdet_nofg.add(gdstk.Label('& Version    \t  1.7A', (101.66,17.25), layer=16, texttype=0))
tsmc350nm_ampdet_nofg.add(gdstk.Label('& Metric 1', (101.66,16.11), layer=16, texttype=0))
tsmc350nm_ampdet_nofg.add(gdstk.Label('& Distributor VIS', (101.66,16.11), layer=16, texttype=0))
tsmc350nm_ampdet_nofg.add(gdstk.Label('& SerialNumber 000000', (101.66,16.11), layer=16, texttype=0))
tsmc350nm_ampdet_nofg.add(gdstk.Label('& PDKName     vis35cv', (101.66,12.15), layer=16, texttype=0))
tsmc350nm_ampdet_nofg.add(gdstk.Label('& Version    \t  1.7A', (101.66,12.15), layer=16, texttype=0))
tsmc350nm_ampdet_nofg.add(gdstk.Label('& Metric 1', (101.66,12.15), layer=16, texttype=0))
tsmc350nm_ampdet_nofg.add(gdstk.Label('& Distributor VIS', (101.66,12.15), layer=16, texttype=0))
tsmc350nm_ampdet_nofg.add(gdstk.Label('& SerialNumber 000000', (101.66,12.15), layer=16, texttype=0))
tsmc350nm_ampdet_nofg.add(gdstk.Label('& Vendor VIS Corp.', (101.66,12.15), layer=16, texttype=0))
tsmc350nm_ampdet_nofg.add(gdstk.Label('& PDKName     vis35cv', (101.66,16.11), layer=16, texttype=0))
tsmc350nm_ampdet_nofg.add(gdstk.Label('& Vendor VIS Corp.', (101.66,17.25), layer=16, texttype=0))
tsmc350nm_ampdet_nofg.add(gdstk.Label('& Metric 1', (101.66,17.25), layer=16, texttype=0))
tsmc350nm_ampdet_nofg.add(gdstk.Label('& Distributor VIS', (101.66,17.25), layer=16, texttype=0))
tsmc350nm_ampdet_nofg.add(gdstk.Label('& SerialNumber 000000', (101.66,17.25), layer=16, texttype=0))
tsmc350nm_ampdet_nofg.add(gdstk.Label('& Vendor VIS Corp.', (101.66,16.11), layer=16, texttype=0))
tsmc350nm_ampdet_nofg.add(gdstk.Label('& Version    \t  1.7A', (101.66,16.11), layer=16, texttype=0))

lib.write_gds('TSMC350nm_Ampdet_NoFG.gds')
